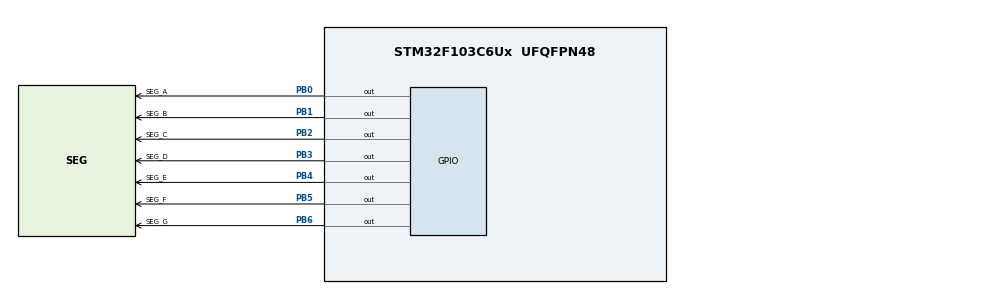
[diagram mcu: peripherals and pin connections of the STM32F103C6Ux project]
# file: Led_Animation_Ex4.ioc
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Mcu.Family=STM32F1
Mcu.Name=STM32F103C6Ux
Mcu.Package=UFQFPN48
NVIC.PriorityGroup=NVIC_PRIORITYGROUP_4
PA0-WKUP.Mode=SYS_WakeUp0
PA0-WKUP.Signal=SYS_WKUP
PA13.Mode=Serial_Wire
PA13.Signal=SYS_JTMS-SWDIO
PA14.Mode=Serial_Wire
PA14.Signal=SYS_JTCK-SWCLK
PB0.GPIO_Label=SEG_A
PB0.Signal=GPIO_Output
PB1.GPIO_Label=SEG_B
PB1.Signal=GPIO_Output
PB2.GPIO_Label=SEG_C
PB2.Signal=GPIO_Output
PB3.GPIO_Label=SEG_D
PB3.Signal=GPIO_Output
PB4.GPIO_Label=SEG_E
PB4.Signal=GPIO_Output
PB5.GPIO_Label=SEG_F
PB5.Signal=GPIO_Output
PB6.GPIO_Label=SEG_G
PB6.Signal=GPIO_Output
PC14-OSC32_IN.Mode=LSE-External-Oscillator
PC14-OSC32_IN.Signal=RCC_OSC32_IN
PC15-OSC32_OUT.Mode=LSE-External-Oscillator
PC15-OSC32_OUT.Signal=RCC_OSC32_OUT
PD0-OSC_IN.Mode=HSE-External-Oscillator
PD0-OSC_IN.Signal=RCC_OSC_IN
PD1-OSC_OUT.Mode=HSE-External-Oscillator
PD1-OSC_OUT.Signal=RCC_OSC_OUT
ProjectManager.HeapSize=0x200
ProjectManager.StackSize=0x400
ProjectManager.TargetToolchain=STM32CubeIDE
RCC.APB1Freq_Value=8000000
RCC.APB2Freq_Value=8000000
board=custom

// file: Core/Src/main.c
/* USER CODE BEGIN Header */
/**
  ******************************************************************************
  * @file           : main.c
  * @brief          : Main program body
  ******************************************************************************
  * @attention
  *
  * <h2><center>&copy; Copyright (c) 2025 STMicroelectronics.
  * All rights reserved.</center></h2>
  *
  * This software component is licensed by ST under BSD 3-Clause license,
  * the "License"; You may not use this file except in compliance with the
  * License. You may obtain a copy of the License at:
  *                        opensource.org/licenses/BSD-3-Clause
  *
  ******************************************************************************
  */
/* USER CODE END Header */
#include "main.h"

/* USER CODE BEGIN PV */
uint8_t counter = 0;
uint8_t led_counter = 0;
/* USER CODE END PV */

void SystemClock_Config(void);
static void MX_GPIO_Init(void);

/* USER CODE BEGIN 0 */
void display7SEG(uint8_t counter){
	// The first condition -> Turn on LED
	// Config SEG A
	if(counter != 1 && counter != 4){
		HAL_GPIO_WritePin(GPIOB, SEG_A_Pin, GPIO_PIN_RESET);
	}
	else HAL_GPIO_WritePin(GPIOB, SEG_A_Pin, GPIO_PIN_SET);

	// Config SEG B
	if(counter != 5 && counter != 6){
		HAL_GPIO_WritePin(GPIOB, SEG_B_Pin, GPIO_PIN_RESET);
	}
	else HAL_GPIO_WritePin(GPIOB, SEG_B_Pin, GPIO_PIN_SET);

	// Config SEG C
	if(counter != 2){
		HAL_GPIO_WritePin(GPIOB, SEG_C_Pin, GPIO_PIN_RESET);
	}
	else HAL_GPIO_WritePin(GPIOB, SEG_C_Pin, GPIO_PIN_SET);

	// Config SEG D
	if(counter != 1 && counter != 4 && counter != 7){
		HAL_GPIO_WritePin(GPIOB, SEG_D_Pin, GPIO_PIN_RESET);
	}
	else HAL_GPIO_WritePin(GPIOB, SEG_D_Pin, GPIO_PIN_SET);

	// Config SEG E
	if(counter == 0 || counter == 2 || counter == 6 || counter == 8){
		HAL_GPIO_WritePin(GPIOB, SEG_E_Pin, GPIO_PIN_RESET);
	}
	else HAL_GPIO_WritePin(GPIOB, SEG_E_Pin, GPIO_PIN_SET);

	// Config SEG F
	if(counter != 1 && counter != 2 && counter != 3 && counter != 7){
		HAL_GPIO_WritePin(GPIOB, SEG_F_Pin, GPIO_PIN_RESET);
	}
	else HAL_GPIO_WritePin(GPIOB, SEG_F_Pin, GPIO_PIN_SET);

	// Config SEG G
	if(counter != 0 && counter != 1 && counter != 7){
		HAL_GPIO_WritePin(GPIOB, SEG_G_Pin, GPIO_PIN_RESET);
	}
	else HAL_GPIO_WritePin(GPIOB, SEG_G_Pin, GPIO_PIN_SET);
}
/* USER CODE END 0 */

int main(void)
{

  /* MCU Configuration--------------------------------------------------------*/

  /* Reset of all peripherals, Initializes the Flash interface and the Systick. */
  HAL_Init();

  /* Configure the system clock */
  SystemClock_Config();

  /* Initialize all configured peripherals */
  MX_GPIO_Init();

  /* Infinite loop */
  /* USER CODE BEGIN WHILE */
  while (1)
  {
	 if(counter >= 10) counter = 0;
	 display7SEG(counter++);
	 HAL_Delay(1000);
    /* USER CODE END WHILE */

  }
}

void SystemClock_Config(void)
{
  RCC_OscInitTypeDef RCC_OscInitStruct = {0};
  RCC_ClkInitTypeDef RCC_ClkInitStruct = {0};

  /** Initializes the RCC Oscillators according to the specified parameters
  * in the RCC_OscInitTypeDef structure.
  */
  RCC_OscInitStruct.OscillatorType = RCC_OSCILLATORTYPE_HSI;
  RCC_OscInitStruct.HSIState = RCC_HSI_ON;
  RCC_OscInitStruct.HSICalibrationValue = RCC_HSICALIBRATION_DEFAULT;
  RCC_OscInitStruct.PLL.PLLState = RCC_PLL_NONE;
  if (HAL_RCC_OscConfig(&RCC_OscInitStruct) != HAL_OK)
  {
    Error_Handler();
  }
  /** Initializes the CPU, AHB and APB buses clocks
  */
  RCC_ClkInitStruct.ClockType = RCC_CLOCKTYPE_HCLK|RCC_CLOCKTYPE_SYSCLK
                              |RCC_CLOCKTYPE_PCLK1|RCC_CLOCKTYPE_PCLK2;
  RCC_ClkInitStruct.SYSCLKSource = RCC_SYSCLKSOURCE_HSI;
  RCC_ClkInitStruct.AHBCLKDivider = RCC_SYSCLK_DIV1;
  RCC_ClkInitStruct.APB1CLKDivider = RCC_HCLK_DIV1;
  RCC_ClkInitStruct.APB2CLKDivider = RCC_HCLK_DIV1;

  if (HAL_RCC_ClockConfig(&RCC_ClkInitStruct, FLASH_LATENCY_0) != HAL_OK)
  {
    Error_Handler();
  }
}

static void MX_GPIO_Init(void)
{
  GPIO_InitTypeDef GPIO_InitStruct = {0};

  /* GPIO Ports Clock Enable */
  __HAL_RCC_GPIOC_CLK_ENABLE();
  __HAL_RCC_GPIOD_CLK_ENABLE();
  __HAL_RCC_GPIOA_CLK_ENABLE();
  __HAL_RCC_GPIOB_CLK_ENABLE();

  /*Configure GPIO pin Output Level */
  HAL_GPIO_WritePin(GPIOB, SEG_A_Pin|SEG_B_Pin|SEG_C_Pin|SEG_D_Pin
                          |SEG_E_Pin|SEG_F_Pin|SEG_G_Pin, GPIO_PIN_RESET);

  /*Configure GPIO pins : SEG_A_Pin SEG_B_Pin SEG_C_Pin SEG_D_Pin
                           SEG_E_Pin SEG_F_Pin SEG_G_Pin */
  GPIO_InitStruct.Pin = SEG_A_Pin|SEG_B_Pin|SEG_C_Pin|SEG_D_Pin
                          |SEG_E_Pin|SEG_F_Pin|SEG_G_Pin;
  GPIO_InitStruct.Mode = GPIO_MODE_OUTPUT_PP;
  GPIO_InitStruct.Pull = GPIO_NOPULL;
  GPIO_InitStruct.Speed = GPIO_SPEED_FREQ_LOW;
  HAL_GPIO_Init(GPIOB, &GPIO_InitStruct);

}

void Error_Handler(void)
{
  __disable_irq();
  while (1)
  {
  }
}

/************************ (C) COPYRIGHT STMicroelectronics *****END OF FILE****/
